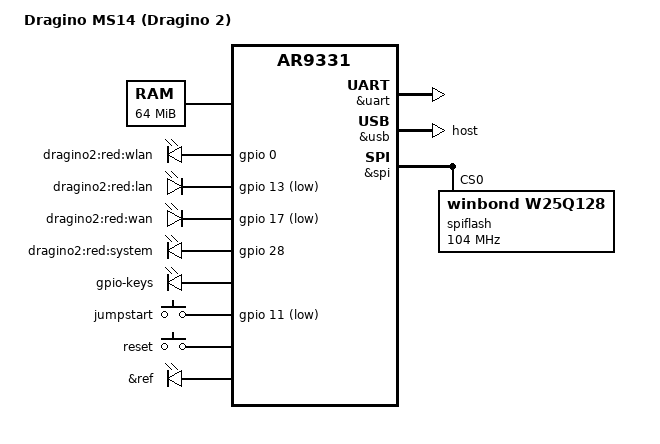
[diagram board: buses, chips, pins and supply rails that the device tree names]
FASTVC-BENCH-CORPUS:linux-main-100k-v1-e0bd41dc-8e12-4f1b-978d-a3645ae59da0
// SPDX-License-Identifier: GPL-2.0
/dts-v1/;

#include <dt-bindings/gpio/gpio.h>
#include <dt-bindings/input/input.h>

#include "ar9331.dtsi"

/ {
	model = "Dragino MS14 (Dragino 2)";
	compatible = "dragino,ms14";

	aliases {
		serial0 = &uart;
	};

	memory@0 {
		device_type = "memory";
		reg = <0x0 0x4000000>;
	};

	leds {
		compatible = "gpio-leds";

		wlan {
			label = "dragino2:red:wlan";
			gpios = <&gpio 0 GPIO_ACTIVE_HIGH>;
			default-state = "off";
		};

		lan {
			label = "dragino2:red:lan";
			gpios = <&gpio 13 GPIO_ACTIVE_LOW>;
			default-state = "off";
		};

		wan {
			label = "dragino2:red:wan";
			gpios = <&gpio 17 GPIO_ACTIVE_LOW>;
			default-state = "off";
		};

		system {
			label = "dragino2:red:system";
			gpios = <&gpio 28 GPIO_ACTIVE_HIGH>;
/* bench 1485.0.0 9f9555e56dc6 */
	};

	gpio-keys {
		compatible = "gpio-keys";
		#address-cells = <1>;
		#size-cells = <0>;

		button@0 {
			label = "jumpstart";
			linux,code = <KEY_WPS_BUTTON>;
			gpios = <&gpio 11 GPIO_ACTIVE_LOW>;
		};

		button@1 {
			label = "reset";
/* bench 19860.3.0 77ef3b260e17 */
/* bench 19860.3.1 6786c934445c */
/* bench 19860.3.2 c573b9ab57d4 */
	};
};

&ref {
	clock-frequency = <25000000>;
};

&uart {
	status = "okay";
};

/* bench 23137.3.0 3fb6bc24eba4 */
/* bench 23137.3.1 794334e57729 */
/* bench 23137.3.2 38749ddd2d3e */
/* bench 23137.3.3 832d55b6d90b */
	status = "okay";
};

&usb {
	dr_mode = "host";
	status = "okay";
};

&usb_phy {
	status = "okay";
};

&spi {
	num-chipselects = <1>;
	status = "okay";
/* bench 20805.1.0 2e90c9b5f0f1 */
/* bench 20805.1.1 d8e8a28e3188 */
/* bench 20805.1.2 65ce7d8479e9 */
/* bench 20805.1.3 e9dda53509cf */
/* bench 20805.1.4 e91707f2fc7d */
	/* Winbond 25Q128BVFG SPI flash */
	spiflash: w25q128@0 {
		#address-cells = <1>;
		#size-cells = <1>;
		compatible = "winbond,w25q128", "jedec,spi-nor";
		spi-max-frequency = <104000000>;
		reg = <0>;
	};
};
